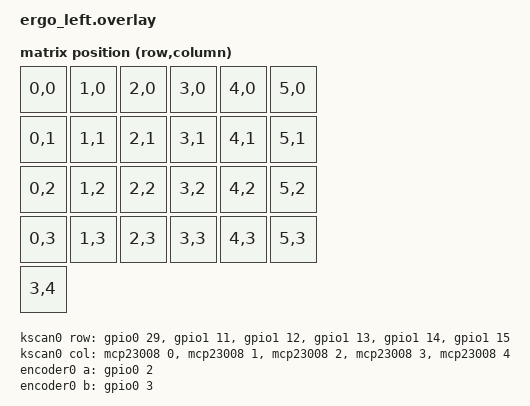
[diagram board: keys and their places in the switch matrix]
#include <dt-bindings/zmk/matrix_transform.h>

&pinctrl {
    i2c0_default: i2c0_default {
        group1 {
            psels = <NRF_PSEL(TWIM_SDA, 0, 4)>,
                    <NRF_PSEL(TWIM_SCL, 0, 5)>;
        };
    };
    i2c0_sleep: i2c0_sleep {
        group1 {
            psels = <NRF_PSEL(TWIM_SDA, 0, 4)>,
                    <NRF_PSEL(TWIM_SCL, 0, 5)>;
            low-power-enable;
        };
    };
};

&i2c0 {
    status = "okay";
    pinctrl-0 = <&i2c0_default>;
    pinctrl-1 = <&i2c0_sleep>;
    pinctrl-names = "default", "sleep";
    clock-frequency = <I2C_BITRATE_FAST>; /* CRITICAL: Prevents severe input lag */

    mcp23008: mcp23008@20 {
        compatible = "microchip,mcp23008";
        reg = <0x20>;
        gpio-controller;
        #gpio-cells = <2>;
        ngpios = <8>; /* Defines the 8 pins on the MCP23008 */
    };
};

/ {
    chosen {
        zmk,kscan = &kscan0;
        zmk,matrix-transform = &default_transform;
    };

    default_transform: keymap_transform_0 {
        compatible = "zmk,matrix-transform";
        columns = <5>;
        rows = <6>;
        map = <
            RC(0,0) RC(1,0) RC(2,0) RC(3,0) RC(4,0) RC(5,0)
            RC(0,1) RC(1,1) RC(2,1) RC(3,1) RC(4,1) RC(5,1)
            RC(0,2) RC(1,2) RC(2,2) RC(3,2) RC(4,2) RC(5,2)
            RC(0,3) RC(1,3) RC(2,3) RC(3,3) RC(4,3) RC(5,3)
            RC(3,4)
        >;
    };

    kscan0: kscan {
        compatible = "zmk,kscan-gpio-matrix";
        wakeup-source;
        diode-direction = "col2row";

        row-gpios
            = <&gpio0 29 (GPIO_ACTIVE_LOW | GPIO_PULL_UP)>
            , <&gpio1 11 (GPIO_ACTIVE_LOW | GPIO_PULL_UP)>
            , <&gpio1 12 (GPIO_ACTIVE_LOW | GPIO_PULL_UP)>
            , <&gpio1 13 (GPIO_ACTIVE_LOW | GPIO_PULL_UP)>
            , <&gpio1 14 (GPIO_ACTIVE_LOW | GPIO_PULL_UP)>
            , <&gpio1 15 (GPIO_ACTIVE_LOW | GPIO_PULL_UP)>
            ;

        col-gpios
            = <&mcp23008 0 GPIO_ACTIVE_LOW>
            , <&mcp23008 1 GPIO_ACTIVE_LOW>
            , <&mcp23008 2 GPIO_ACTIVE_LOW>
            , <&mcp23008 3 GPIO_ACTIVE_LOW>
            , <&mcp23008 4 GPIO_ACTIVE_LOW>
            ;
    };

    encoder0: encoder_0 {
        compatible = "alps,ec11";
        a-gpios = <&gpio0 2 (GPIO_ACTIVE_HIGH | GPIO_PULL_UP)>;
        b-gpios = <&gpio0 3 (GPIO_ACTIVE_HIGH | GPIO_PULL_UP)>;
        steps = <80>;
        status = "okay";
    };

    sensors {
        compatible = "zmk,keymap-sensors";
        sensors = <&encoder0>;
        triggers-per-rotation = <20>;
    };
};
